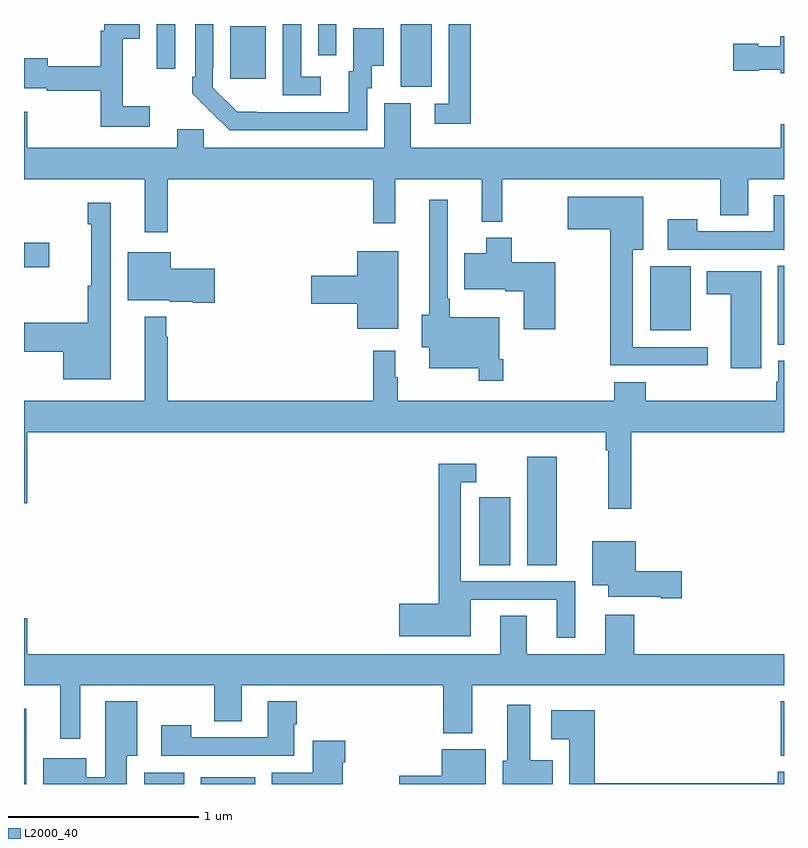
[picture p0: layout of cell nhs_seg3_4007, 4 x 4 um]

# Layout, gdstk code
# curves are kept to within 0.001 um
import gdstk
lib = gdstk.Library(unit=1e-6, precision=1e-09)
def R(c, l, rs):  # rectangles x0, y0, x1, y1
    for r in rs: c.add(gdstk.rectangle(r[:2], r[2:], *l))
def P(c, l, *ps):  # polygons
    for p in ps: c.add(gdstk.Polygon(p, *l))
L2000_40 = (2000, 40)

nhs_seg3_4007 = lib.new_cell('nhs_seg3_4007')
R(nhs_seg3_4007, L2000_40, [(321,696.4,321.013,696.796), (321.632,696.4,321.844,696.46), (321.929,696.4,322.216,696.436), (324.983,696.549,325,696.835), (323.396,697.552,323.56,697.909), (323.648,697.552,323.803,698.122), (324.968,698.713,325,699.128), (324.296,698.789,324.508,699.124), (321,699.119,321.133,699.249), (322.982,700.069,323.146,700.4), (322.085,700.113,322.273,700.387), (321.699,700.164,321.795,700.4), (322.548,700.236,322.644,700.4)])
P(nhs_seg3_4007, L2000_40, [(322.561,700.122),(322.458,700.122),(322.458,700.4),(322.362,700.4),(322.362,700.026),(322.561,700.026)],
  [(323.351,700.4),(323.235,700.4),(323.235,699.981),(323.163,699.981),(323.163,699.876),(323.351,699.876)],
  [(321.661,699.967),(321.521,699.967),(321.521,700.322),(321.61,700.322),(321.61,700.4),(321.422,700.4),(321.422,700.365),(321.403,700.365),(321.403,700.178),(321.124,700.178),(321.124,700.221),(321,700.221),(321,700.062),(321.12,700.062),(321.12,700.05),(321.403,700.05),(321.403,699.858),(321.661,699.858)],
  [(322.806,700.062),(322.831,700.062),(322.831,700.181),(322.894,700.181),(322.894,700.378),(322.733,700.378),(322.733,700.152),(322.709,700.152),(322.709,699.936),(322.122,699.937),(321.993,700.065),(321.993,700.165),(321.996,700.165),(321.996,700.4),(321.9,700.4),(321.9,700.123),(321.885,700.123),(321.885,700.035),(322.082,699.84),(322.806,699.84)],
  [(325,700.336),(324.98,700.336),(324.98,700.282),(324.864,700.282),(324.864,700.295),(324.732,700.295),(324.732,700.153),(324.864,700.153),(324.864,700.16),(324.984,700.16),(324.984,700.142),(325,700.142)],
  [(321.757,699.584),(322.837,699.584),(322.837,699.351),(322.955,699.351),(322.955,699.584),(323.408,699.584),(323.408,699.359),(323.518,699.359),(323.518,699.584),(324.664,699.584),(324.664,699.394),(324.811,699.394),(324.811,699.584),(325,699.584),(325,699.872),(324.983,699.872),(324.983,699.748),(323.035,699.748),(323.035,699.984),(322.895,699.984),(322.895,699.748),(321.945,699.748),(321.945,699.846),(321.806,699.846),(321.806,699.748),(321.016,699.748),(321.016,699.937),(321,699.937),(321,699.584),(321.635,699.584),(321.635,699.303),(321.757,699.303)],
  [(325,699.499),(324.947,699.499),(324.947,699.309),(324.543,699.309),(324.543,699.373),(324.387,699.373),(324.387,699.213),(325,699.213)],
  [(324.598,698.7),(324.205,698.7),(324.205,699.212),(324.259,699.212),(324.259,699.49),(323.862,699.49),(323.862,699.32),(324.085,699.32),(324.085,698.603),(324.598,698.603)],
  [(323.522,698.635),(323.502,698.635),(323.502,698.857),(323.242,698.857),(323.242,698.953),(323.229,698.953),(323.229,699.475),(323.132,699.475),(323.132,698.87),(323.093,698.87),(323.093,698.699),(323.132,698.699),(323.132,698.588),(323.394,698.588),(323.394,698.523),(323.522,698.523)],
  [(321.457,699.46),(321.336,699.46),(321.336,699.347),(321.353,699.347),(321.353,699.023),(321.336,699.023),(321.336,698.827),(321,698.827),(321,698.675),(321.206,698.675),(321.206,698.531),(321.457,698.531)],
  [(323.796,699.145),(323.567,699.145),(323.567,699.274),(323.432,699.274),(323.432,699.193),(323.318,699.193),(323.318,699.005),(323.534,699.005),(323.534,698.993),(323.63,698.993),(323.63,698.793),(323.796,698.793)],
  [(322.969,699.205),(322.754,699.205),(322.754,699.074),(322.512,699.074),(322.512,698.927),(322.754,698.927),(322.754,698.795),(322.969,698.795)],
  [(322.003,699.111),(321.772,699.111),(321.772,699.199),(321.545,699.199),(321.545,698.945),(321.768,698.945),(321.768,698.939),(321.89,698.939),(321.89,698.933),(322.003,698.933)],
  [(324.88,699.1),(324.593,699.1),(324.593,698.978),(324.719,698.978),(324.719,698.588),(324.88,698.588)],
  [(324.197,698.252),(325,698.252),(325,698.628),(324.971,698.628),(324.971,698.517),(324.959,698.517),(324.959,698.416),(324.272,698.416),(324.272,698.515),(324.107,698.515),(324.107,698.416),(322.966,698.416),(322.966,698.54),(322.954,698.54),(322.954,698.68),(322.837,698.68),(322.837,698.416),(321.757,698.416),(321.757,698.753),(321.749,698.753),(321.749,698.86),(321.635,698.86),(321.635,698.416),(321,698.416),(321,697.878),(321.016,697.878),(321.016,698.252),(324.061,698.252),(324.061,698.156),(324.076,698.156),(324.076,697.848),(324.197,697.848)],
  [(323.902,697.467),(323.298,697.467),(323.298,697.989),(323.38,697.989),(323.38,698.086),(323.182,698.086),(323.182,697.349),(322.974,697.349),(322.974,697.178),(323.35,697.178),(323.35,697.371),(323.804,697.371),(323.804,697.17),(323.902,697.17)],
  [(324.463,697.52),(324.22,697.52),(324.22,697.678),(323.99,697.678),(323.99,697.445),(324.074,697.445),(324.074,697.385),(324.35,697.385),(324.35,697.378),(324.463,697.378)],
  [(321.295,696.92),(322,696.92),(322,696.73),(322.147,696.73),(322.147,696.92),(323.207,696.92),(323.207,696.668),(323.359,696.668),(323.359,696.92),(325,696.92),(325,697.084),(324.212,697.084),(324.212,697.291),(324.059,697.291),(324.059,697.084),(323.647,697.084),(323.647,697.286),(323.507,697.286),(323.507,697.084),(321.016,697.084),(321.016,697.273),(321,697.273),(321,696.92),(321.191,696.92),(321.191,696.639),(321.295,696.639)],
  [(322.423,696.715),(322.436,696.715),(322.436,696.835),(322.283,696.835),(322.283,696.645),(321.879,696.645),(321.879,696.709),(321.723,696.709),(321.723,696.549),(322.423,696.549)],
  [(321.541,696.548),(321.595,696.548),(321.595,696.835),(321.428,696.835),(321.428,696.435),(321.328,696.435),(321.328,696.535),(321.101,696.535),(321.101,696.4),(321.541,696.4)],
  [(323.782,696.526),(323.665,696.526),(323.665,696.817),(323.543,696.817),(323.543,696.522),(323.519,696.522),(323.519,696.4),(323.782,696.4)],
  [(325,696.464),(324.968,696.464),(324.968,696.404),(324.005,696.404),(324.005,696.787),(323.775,696.787),(323.775,696.635),(323.87,696.635),(323.87,696.4),(325,696.4)],
  [(322.678,696.515),(322.691,696.515),(322.691,696.628),(322.52,696.628),(322.52,696.46),(322.304,696.46),(322.304,696.4),(322.678,696.4)],
  [(323.431,696.583),(323.198,696.583),(323.198,696.444),(322.974,696.444),(322.974,696.4),(323.431,696.4)])

lib.write_gds('nhs_seg3_4007.gds')
